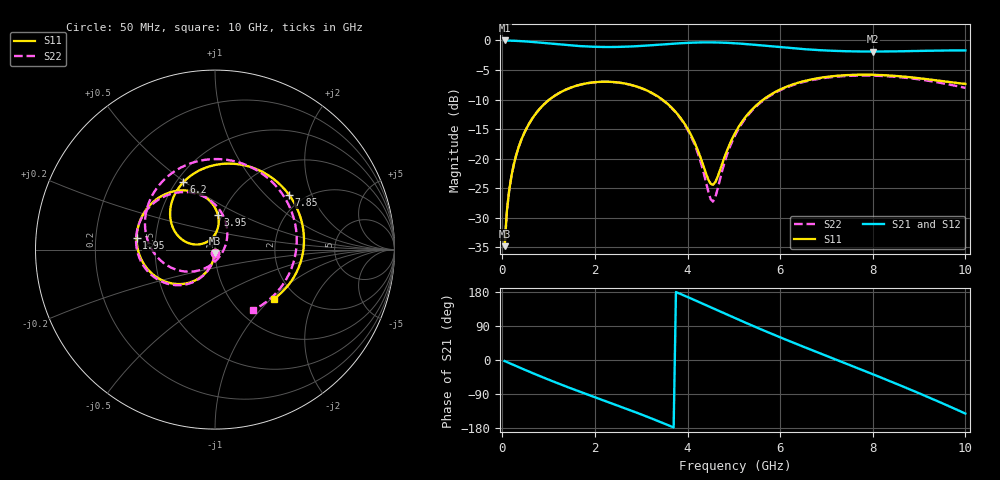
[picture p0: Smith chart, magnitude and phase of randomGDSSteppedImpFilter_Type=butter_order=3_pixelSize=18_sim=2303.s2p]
! freq	dB(S11)	phase(S11)	dB(S12)	phase(S12)
!  dB(S21)	phase(S21)	dB(S22)	phase(S22)
!S-par simulation data
#  GHz  S  DB  R 50
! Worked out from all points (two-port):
!   200 points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, 50 MHz to 10 GHz, reference 50 ohm
!   highest |S21| = 0.00 dB at 50 MHz (marker M1); lowest = -1.9 dB at 8 GHz (marker M2)
!   |S21| within 3 dB of the highest: start of sweep to end of sweep
!   lowest |S11| = -34.8 dB at 50 MHz (marker M3), VSWR 1.04, Z = 49.9 - j1.81 ohm
!   |S11| at or under -10 dB: start of sweep to 1.019 GHz; 3.454 GHz to 5.638 GHz (2.183 GHz wide, 48 % of centre)
!   |S22| runs from -34.8 to -5.9 dB; largest |S21 - S12| = 0
!   S11 on the Smith chart (normalised r, x): 50 MHz: 1.00, -0.04; 1.95 GHz: 0.39, +0.06; 3.95 GHz: 0.96, +0.38; 6.2 GHz: 0.54, +0.49; 7.85 GHz: 1.68, +1.39; 10 GHz: 1.56, -1.05
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0.05  -34.80 -92.7  -0.00 -2.7  -0.00 -2.7  -34.80 -92.6
0.1  -28.80 -95.6  -0.02 -5.4  -0.02 -5.4  -28.80 -95.4
0.2  -22.83 -101.3  -0.04 -10.8  -0.04 -10.8  -22.83 -100.9
0.5  -15.24 -117.7  -0.17 -26.6  -0.17 -26.6  -15.24 -116.6
1.1  -9.52 -148.3  -0.58 -56.7  -0.58 -56.7  -9.52 -146.2
1.75  -7.37 -179.2  -0.99 -87.0  -0.99 -87.0  -7.37 -175.9
1.95  -7.11 171.7  -1.06 -96.0  -1.06 -96.0  -7.11 175.3
2.7  -7.38 138.1  -1.05 -129.7  -1.05 -129.7  -7.39 142.0
3.4  -9.70 106.6  -0.71 -162.9  -0.71 -162.9  -9.73 108.0
3.95  -14.26 85.2  -0.43 168.9  -0.43 168.9  -14.41 75.5
4.2  -18.14 82.3  -0.35 155.6  -0.35 155.6  -18.58 54.4
4.55  -24.41 127.5  -0.33 136.5  -0.33 136.5  -27.26 -35.8
5.05  -15.34 165.0  -0.49 109.3  -0.49 109.3  -15.69 -132.8
5.6  -10.22 144.0  -0.84 80.2  -0.84 80.2  -10.37 -167.2
6.2  -7.64 115.1  -1.28 49.9  -1.28 49.9  -7.77 162.2
6.7  -6.55 90.7  -1.58 25.4  -1.58 25.4  -6.68 138.4
7.25  -5.97 64.2  -1.79 -1.1  -1.79 -1.1  -6.10 112.4
7.85  -5.80 36.4  -1.88 -30.2  -1.88 -30.2  -5.94 82.8
8  -5.81 29.8  -1.88 -37.5  -1.88 -37.5  -5.96 75.0
8.35  -5.93 14.7  -1.86 -54.8  -1.86 -54.8  -6.08 56.1
9.2  -6.58 -17.4  -1.75 -98.2  -1.75 -98.2  -6.82 3.9
10  -7.35 -39.8  -1.69 -141.3  -1.69 -141.3  -8.02 -57.9
